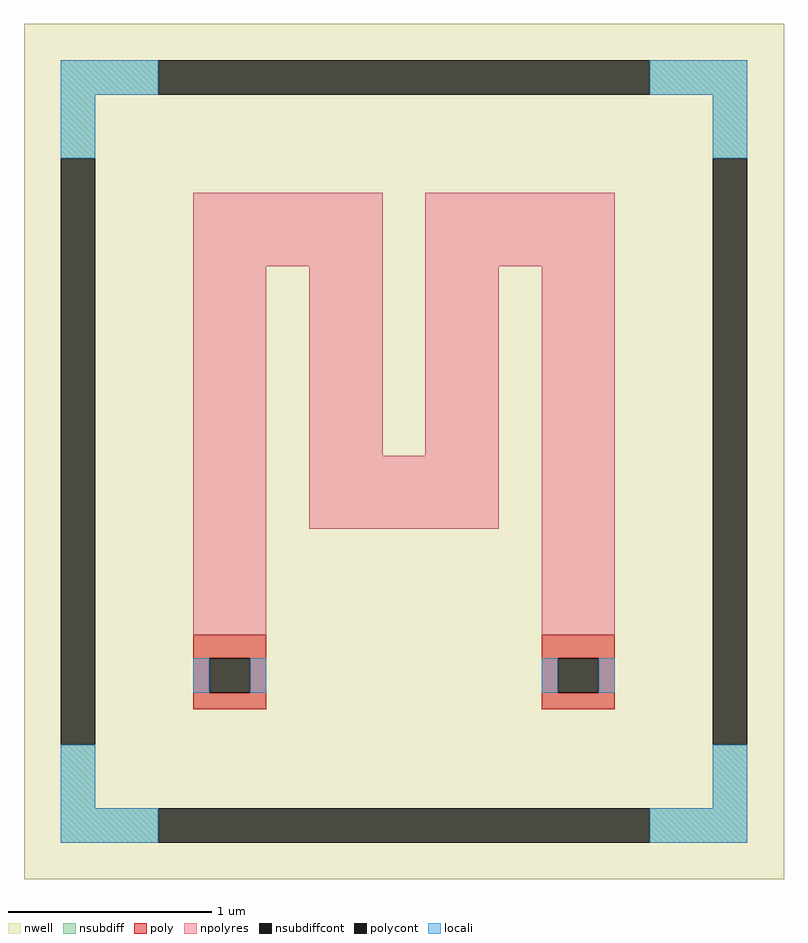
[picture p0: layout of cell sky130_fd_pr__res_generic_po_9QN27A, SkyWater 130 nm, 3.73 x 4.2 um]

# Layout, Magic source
magic
tech sky130A
magscale 1 2
<< nwell >>
rect -373 -420 373 420
<< nsubdiff >>
rect -337 350 -241 384
rect 241 350 337 384
rect -337 288 -303 350
rect 303 288 337 350
rect -337 -350 -303 -288
rect 303 -350 337 -288
rect -337 -384 -241 -350
rect 241 -384 337 -350
<< nsubdiffcont >>
rect -241 350 241 384
rect -337 -288 -303 288
rect 303 -288 337 288
rect -241 -384 241 -350
<< poly >>
rect -207 -203 -135 -180
rect -207 -237 -191 -203
rect -151 -237 -135 -203
rect -207 -253 -135 -237
rect 135 -203 207 -180
rect 135 -237 151 -203
rect 191 -237 207 -203
rect 135 -253 207 -237
<< polycont >>
rect -191 -237 -151 -203
rect 151 -237 191 -203
<< npolyres >>
rect -207 182 -21 254
rect -207 -180 -135 182
rect -93 -4 -21 182
rect 21 182 207 254
rect 21 -4 93 182
rect -93 -76 93 -4
rect 135 -180 207 182
<< locali >>
rect -337 350 -241 384
rect 241 350 337 384
rect -337 288 -303 350
rect 303 288 337 350
rect -207 -237 -191 -203
rect -151 -237 -135 -203
rect 135 -237 151 -203
rect 191 -237 207 -203
rect -337 -350 -303 -288
rect 303 -350 337 -288
rect -337 -384 -241 -350
rect 241 -384 337 -350
<< properties >>
string gencell sky130_fd_pr__res_generic_po
string FIXED_BBOX -320 -367 320 367
string parameters w 0.36 l 1.650 m 1 nx 4 wmin 0.330 lmin 1.650 rho 48.2 val 1.188k dummy 0 dw 0.0 term 0.0 sterm 0.0 caplen 0.4 snake 1 guard 1 glc 1 grc 1 gtc 1 gbc 1 roverlap 0 endcov 100 full_metal 1 hv_guard 0 vias 1 viagb 0 viagt 0 viagl 0 viagr 0
string library sky130
<< end >>
